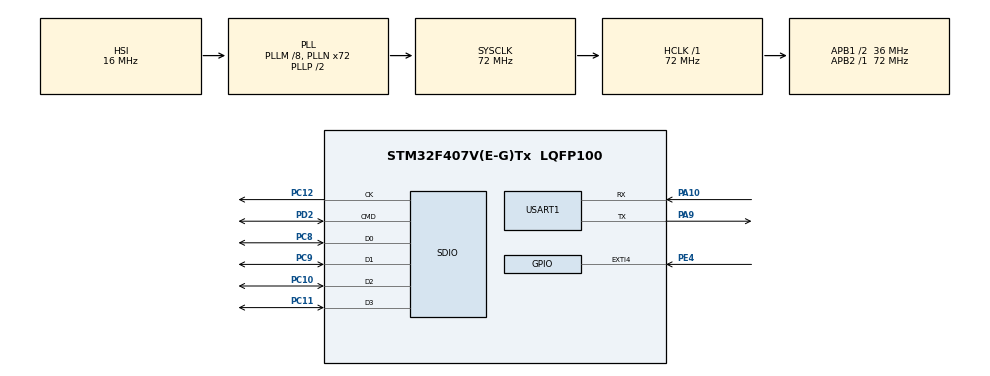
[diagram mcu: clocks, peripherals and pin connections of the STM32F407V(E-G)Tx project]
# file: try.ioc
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Dma.Request0=USART1_RX
Dma.USART1_RX.0.Direction=DMA_PERIPH_TO_MEMORY
Dma.USART1_RX.0.FIFOMode=DMA_FIFOMODE_DISABLE
Dma.USART1_RX.0.Instance=DMA2_Stream2
Dma.USART1_RX.0.MemDataAlignment=DMA_MDATAALIGN_BYTE
Dma.USART1_RX.0.MemInc=DMA_MINC_ENABLE
Dma.USART1_RX.0.Mode=DMA_NORMAL
Dma.USART1_RX.0.PeriphDataAlignment=DMA_PDATAALIGN_BYTE
Dma.USART1_RX.0.PeriphInc=DMA_PINC_DISABLE
Dma.USART1_RX.0.Priority=DMA_PRIORITY_LOW
FREERTOS.BinarySemaphores01=myBinarySem01,Dynamic,NULL
FREERTOS.Mutexes01=myMutex01,Dynamic,NULL
FREERTOS.Tasks01=defaultTask,0,128,StartDefaultTask,Default,NULL,Dynamic,NULL,NULL;myTask02,0,128,StartTask02,Default,NULL,Dynamic,NULL,NULL;myTask03,-3,128,StartTask03,Default,NULL,Dynamic,NULL,NULL
Mcu.Family=STM32F4
Mcu.Name=STM32F407V(E-G)Tx
Mcu.Package=LQFP100
NVIC.DMA2_Stream2_IRQn=true\:5\:0\:true\:false\:true\:true\:false
NVIC.EXTI4_IRQn=true\:5\:0\:false\:false\:true\:true\:true
NVIC.PriorityGroup=NVIC_PRIORITYGROUP_4
NVIC.TIM1_UP_TIM10_IRQn=true\:0\:0\:false\:false\:true\:false\:false
NVIC.TimeBase=TIM1_UP_TIM10_IRQn
NVIC.TimeBaseIP=TIM1
PA10.Mode=Asynchronous
PA10.Signal=USART1_RX
PA13.Mode=Serial_Wire
PA13.Signal=SYS_JTMS-SWDIO
PA14.Mode=Serial_Wire
PA14.Signal=SYS_JTCK-SWCLK
PA9.Mode=Asynchronous
PA9.Signal=USART1_TX
PC10.Mode=SD_4_bits_Wide_bus
PC10.Signal=SDIO_D2
PC11.Mode=SD_4_bits_Wide_bus
PC11.Signal=SDIO_D3
PC12.Mode=SD_4_bits_Wide_bus
PC12.Signal=SDIO_CK
PC8.Mode=SD_4_bits_Wide_bus
PC8.Signal=SDIO_D0
PC9.Mode=SD_4_bits_Wide_bus
PC9.Signal=SDIO_D1
PD2.Mode=SD_4_bits_Wide_bus
PD2.Signal=SDIO_CMD
PE4.GPIO_ModeDefaultEXTI=GPIO_MODE_IT_FALLING
PE4.GPIO_PuPd=GPIO_PULLUP
PE4.Signal=GPXTI4
PH0-OSC_IN.Mode=HSE-External-Oscillator
PH0-OSC_IN.Signal=RCC_OSC_IN
PH1-OSC_OUT.Mode=HSE-External-Oscillator
PH1-OSC_OUT.Signal=RCC_OSC_OUT
ProjectManager.HeapSize=0x200
ProjectManager.StackSize=0x400
ProjectManager.TargetToolchain=MDK-ARM V5
RCC.48MHZClocksFreq_Value=48000000
RCC.AHBFreq_Value=72000000
RCC.APB1CLKDivider=RCC_HCLK_DIV2
RCC.APB1Freq_Value=36000000
RCC.APB1TimFreq_Value=72000000
RCC.APB2Freq_Value=72000000
RCC.APB2TimFreq_Value=72000000
RCC.CortexFreq_Value=72000000
RCC.HCLKFreq_Value=72000000
RCC.HSE_VALUE=25000000
RCC.HSI_VALUE=16000000
RCC.LSE_VALUE=32768
RCC.PLLM=8
RCC.PLLN=72
RCC.PLLQ=3
RCC.SYSCLKFreq_VALUE=72000000
RCC.SYSCLKSource=RCC_SYSCLKSOURCE_PLLCLK
RCC.VCOOutputFreq_Value=144000000
USART1.VirtualMode=VM_ASYNC
VP_FATFS_VS_SDIO.Mode=SDIO
VP_FREERTOS_VS_ENABLE.Mode=Enabled
VP_SYS_VS_tim1.Mode=TIM1
board=custom

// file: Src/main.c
/**
  ******************************************************************************
  * @file           : main.c
  * @brief          : Main program body
  ******************************************************************************
  * This notice applies to any and all portions of this file
  * that are not between comment pairs USER CODE BEGIN and
  * USER CODE END. Other portions of this file, whether
  * inserted by the user or by software development tools
  * are owned by their respective copyright owners.
  *
  * Copyright (c) 2019 STMicroelectronics International N.V.
  * All rights reserved.
  *
  * Redistribution and use in source and binary forms, with or without
  * modification, are permitted, provided that the following conditions are met:
  *
  * 1. Redistribution of source code must retain the above copyright notice,
  *    this list of conditions and the following disclaimer.
  * 2. Redistributions in binary form must reproduce the above copyright notice,
  *    this list of conditions and the following disclaimer in the documentation
  *    and/or other materials provided with the distribution.
  * 3. Neither the name of STMicroelectronics nor the names of other
  *    contributors to this software may be used to endorse or promote products
  *    derived from this software without specific written permission.
  * 4. This software, including modifications and/or derivative works of this
  *    software, must execute solely and exclusively on microcontroller or
  *    microprocessor devices manufactured by or for STMicroelectronics.
  * 5. Redistribution and use of this software other than as permitted under
  *    this license is void and will automatically terminate your rights under
  *    this license.
  *
  * THIS SOFTWARE IS PROVIDED BY STMICROELECTRONICS AND CONTRIBUTORS "AS IS"
  * AND ANY EXPRESS, IMPLIED OR STATUTORY WARRANTIES, INCLUDING, BUT NOT
  * LIMITED TO, THE IMPLIED WARRANTIES OF MERCHANTABILITY, FITNESS FOR A
  * PARTICULAR PURPOSE AND NON-INFRINGEMENT OF THIRD PARTY INTELLECTUAL PROPERTY
  * RIGHTS ARE DISCLAIMED TO THE FULLEST EXTENT PERMITTED BY LAW. IN NO EVENT
  * SHALL STMICROELECTRONICS OR CONTRIBUTORS BE LIABLE FOR ANY DIRECT, INDIRECT,
  * INCIDENTAL, SPECIAL, EXEMPLARY, OR CONSEQUENTIAL DAMAGES (INCLUDING, BUT NOT
  * LIMITED TO, PROCUREMENT OF SUBSTITUTE GOODS OR SERVICES; LOSS OF USE, DATA,
  * OR PROFITS; OR BUSINESS INTERRUPTION) HOWEVER CAUSED AND ON ANY THEORY OF
  * LIABILITY, WHETHER IN CONTRACT, STRICT LIABILITY, OR TORT (INCLUDING
  * NEGLIGENCE OR OTHERWISE) ARISING IN ANY WAY OUT OF THE USE OF THIS SOFTWARE,
  * EVEN IF ADVISED OF THE POSSIBILITY OF SUCH DAMAGE.
  *
  ******************************************************************************
  */
#include "main.h"
#include "stm32f4xx_hal.h"
#include "cmsis_os.h"
#include "dma.h"
#include "fatfs.h"
#include "sdio.h"
#include "usart.h"
#include "gpio.h"

/* USER CODE BEGIN PV */
/* Private variables ---------------------------------------------------------*/
extern uint8_t rx_data;
/* USER CODE END PV */

void SystemClock_Config(void);
void MX_FREERTOS_Init(void);

/* USER CODE BEGIN PFP */
/* Private function prototypes -----------------------------------------------*/

/* USER CODE END PFP */

int main(void)
{

  /* MCU Configuration----------------------------------------------------------*/

  /* Reset of all peripherals, Initializes the Flash interface and the Systick. */
  HAL_Init();

  /* Configure the system clock */
  SystemClock_Config();

  /* Initialize all configured peripherals */
  MX_GPIO_Init();
  MX_DMA_Init();
  MX_USART1_UART_Init();
  MX_SDIO_SD_Init();
  /* USER CODE BEGIN 2 */
	HAL_UART_Receive_DMA(&huart1, &rx_data, 1);
  /* USER CODE END 2 */

  /* Call init function for freertos objects (in freertos.c) */
  MX_FREERTOS_Init();

  /* Start scheduler */
  osKernelStart();

  /* We should never get here as control is now taken by the scheduler */

  /* Infinite loop */
  while (1)
  {

  }

}

void SystemClock_Config(void)
{

  RCC_OscInitTypeDef RCC_OscInitStruct;
  RCC_ClkInitTypeDef RCC_ClkInitStruct;

    /**Configure the main internal regulator output voltage
    */
  __HAL_RCC_PWR_CLK_ENABLE();

  __HAL_PWR_VOLTAGESCALING_CONFIG(PWR_REGULATOR_VOLTAGE_SCALE1);

    /**Initializes the CPU, AHB and APB busses clocks
    */
  RCC_OscInitStruct.OscillatorType = RCC_OSCILLATORTYPE_HSI;
  RCC_OscInitStruct.HSIState = RCC_HSI_ON;
  RCC_OscInitStruct.HSICalibrationValue = 16;
  RCC_OscInitStruct.PLL.PLLState = RCC_PLL_ON;
  RCC_OscInitStruct.PLL.PLLSource = RCC_PLLSOURCE_HSI;
  RCC_OscInitStruct.PLL.PLLM = 8;
  RCC_OscInitStruct.PLL.PLLN = 72;
  RCC_OscInitStruct.PLL.PLLP = RCC_PLLP_DIV2;
  RCC_OscInitStruct.PLL.PLLQ = 3;
  if (HAL_RCC_OscConfig(&RCC_OscInitStruct) != HAL_OK)
  {
    _Error_Handler(__FILE__, __LINE__);
  }

    /**Initializes the CPU, AHB and APB busses clocks
    */
  RCC_ClkInitStruct.ClockType = RCC_CLOCKTYPE_HCLK|RCC_CLOCKTYPE_SYSCLK
                              |RCC_CLOCKTYPE_PCLK1|RCC_CLOCKTYPE_PCLK2;
  RCC_ClkInitStruct.SYSCLKSource = RCC_SYSCLKSOURCE_PLLCLK;
  RCC_ClkInitStruct.AHBCLKDivider = RCC_SYSCLK_DIV1;
  RCC_ClkInitStruct.APB1CLKDivider = RCC_HCLK_DIV2;
  RCC_ClkInitStruct.APB2CLKDivider = RCC_HCLK_DIV1;

  if (HAL_RCC_ClockConfig(&RCC_ClkInitStruct, FLASH_LATENCY_2) != HAL_OK)
  {
    _Error_Handler(__FILE__, __LINE__);
  }

    /**Configure the Systick interrupt time
    */
  HAL_SYSTICK_Config(HAL_RCC_GetHCLKFreq()/1000);

    /**Configure the Systick
    */
  HAL_SYSTICK_CLKSourceConfig(SYSTICK_CLKSOURCE_HCLK);

  /* SysTick_IRQn interrupt configuration */
  HAL_NVIC_SetPriority(SysTick_IRQn, 15, 0);
}

void HAL_TIM_PeriodElapsedCallback(TIM_HandleTypeDef *htim)
{
  if (htim->Instance == TIM1) {
    HAL_IncTick();
  }
}

void _Error_Handler(char *file, int line)
{
  while(1)
  {
  }
}

/************************ (C) COPYRIGHT STMicroelectronics *****END OF FILE****/

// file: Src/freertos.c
/**
  ******************************************************************************
  * File Name          : freertos.c
  * Description        : Code for freertos applications
  ******************************************************************************
  * This notice applies to any and all portions of this file
  * that are not between comment pairs USER CODE BEGIN and
  * USER CODE END. Other portions of this file, whether
  * inserted by the user or by software development tools
  * are owned by their respective copyright owners.
  *
  * Copyright (c) 2019 STMicroelectronics International N.V.
  * All rights reserved.
  *
  * Redistribution and use in source and binary forms, with or without
  * modification, are permitted, provided that the following conditions are met:
  *
  * 1. Redistribution of source code must retain the above copyright notice,
  *    this list of conditions and the following disclaimer.
  * 2. Redistributions in binary form must reproduce the above copyright notice,
  *    this list of conditions and the following disclaimer in the documentation
  *    and/or other materials provided with the distribution.
  * 3. Neither the name of STMicroelectronics nor the names of other
  *    contributors to this software may be used to endorse or promote products
  *    derived from this software without specific written permission.
  * 4. This software, including modifications and/or derivative works of this
  *    software, must execute solely and exclusively on microcontroller or
  *    microprocessor devices manufactured by or for STMicroelectronics.
  * 5. Redistribution and use of this software other than as permitted under
  *    this license is void and will automatically terminate your rights under
  *    this license.
  *
  * THIS SOFTWARE IS PROVIDED BY STMICROELECTRONICS AND CONTRIBUTORS "AS IS"
  * AND ANY EXPRESS, IMPLIED OR STATUTORY WARRANTIES, INCLUDING, BUT NOT
  * LIMITED TO, THE IMPLIED WARRANTIES OF MERCHANTABILITY, FITNESS FOR A
  * PARTICULAR PURPOSE AND NON-INFRINGEMENT OF THIRD PARTY INTELLECTUAL PROPERTY
  * RIGHTS ARE DISCLAIMED TO THE FULLEST EXTENT PERMITTED BY LAW. IN NO EVENT
  * SHALL STMICROELECTRONICS OR CONTRIBUTORS BE LIABLE FOR ANY DIRECT, INDIRECT,
  * INCIDENTAL, SPECIAL, EXEMPLARY, OR CONSEQUENTIAL DAMAGES (INCLUDING, BUT NOT
  * LIMITED TO, PROCUREMENT OF SUBSTITUTE GOODS OR SERVICES; LOSS OF USE, DATA,
  * OR PROFITS; OR BUSINESS INTERRUPTION) HOWEVER CAUSED AND ON ANY THEORY OF
  * LIABILITY, WHETHER IN CONTRACT, STRICT LIABILITY, OR TORT (INCLUDING
  * NEGLIGENCE OR OTHERWISE) ARISING IN ANY WAY OUT OF THE USE OF THIS SOFTWARE,
  * EVEN IF ADVISED OF THE POSSIBILITY OF SUCH DAMAGE.
  *
  ******************************************************************************
  */

#include "FreeRTOS.h"
#include "task.h"
#include "cmsis_os.h"

/* USER CODE BEGIN Includes */
#include "usart.h"
/* USER CODE END Includes */

osThreadId defaultTaskHandle;
osThreadId myTask02Handle;
osThreadId myTask03Handle;
osMutexId myMutex01Handle;
osSemaphoreId myBinarySem01Handle;

/* USER CODE BEGIN Variables */
extern UART_HandleTypeDef huart1;
extern uint8_t uart_rx_buf[100];
/* USER CODE END Variables */

void StartDefaultTask(void const * argument);
void StartTask02(void const * argument);
void StartTask03(void const * argument);

extern void MX_FATFS_Init(void);
void MX_FREERTOS_Init(void); /* (MISRA C 2004 rule 8.1) */

/* Hook prototypes */

/* Init FreeRTOS */

void MX_FREERTOS_Init(void) {

  /* Create the mutex(es) */
  /* definition and creation of myMutex01 */
  osMutexDef(myMutex01);
  myMutex01Handle = osMutexCreate(osMutex(myMutex01));

  /* Create the semaphores(s) */
  /* definition and creation of myBinarySem01 */
  osSemaphoreDef(myBinarySem01);
  myBinarySem01Handle = osSemaphoreCreate(osSemaphore(myBinarySem01), 1);

  /* Create the thread(s) */
  /* definition and creation of defaultTask */
  osThreadDef(defaultTask, StartDefaultTask, osPriorityNormal, 0, 128);
  defaultTaskHandle = osThreadCreate(osThread(defaultTask), NULL);

  /* definition and creation of myTask02 */
  osThreadDef(myTask02, StartTask02, osPriorityNormal, 0, 128);
  myTask02Handle = osThreadCreate(osThread(myTask02), NULL);

  /* definition and creation of myTask03 */
  osThreadDef(myTask03, StartTask03, osPriorityIdle, 0, 128);
  myTask03Handle = osThreadCreate(osThread(myTask03), NULL);

}

/* StartDefaultTask function */
void StartDefaultTask(void const * argument)
{
  /* init code for FATFS */
  MX_FATFS_Init();

  /* USER CODE BEGIN StartDefaultTask */
  /* Infinite loop */
  for(;;)
  {
		xSemaphoreTake(myMutex01Handle,portMAX_DELAY);
		printf("StartDefaultTask\n");
    xSemaphoreGive(myMutex01Handle);
		vTaskDelay(1000);
  }
  /* USER CODE END StartDefaultTask */
}

/* StartTask02 function */
void StartTask02(void const * argument)
{
  /* USER CODE BEGIN StartTask02 */
  /* Infinite loop */
  for(;;)
  {
		vTaskSuspend(NULL);
		xSemaphoreTake(myMutex01Handle,portMAX_DELAY);
		printf("Rx: %s\n",uart_rx_buf);
    xSemaphoreGive(myMutex01Handle);
  }
  /* USER CODE END StartTask02 */
}

/* StartTask03 function */
void StartTask03(void const * argument)
{
  /* USER CODE BEGIN StartTask03 */
	uint8_t str[] = "button pressed\n";
  /* Infinite loop */
  for(;;)
  {
		vTaskSuspend(NULL);
		xSemaphoreTake(myMutex01Handle,portMAX_DELAY);
		printf("%s",str);
		xSemaphoreGive(myMutex01Handle);
  }
  /* USER CODE END StartTask03 */
}

/************************ (C) COPYRIGHT STMicroelectronics *****END OF FILE****/
